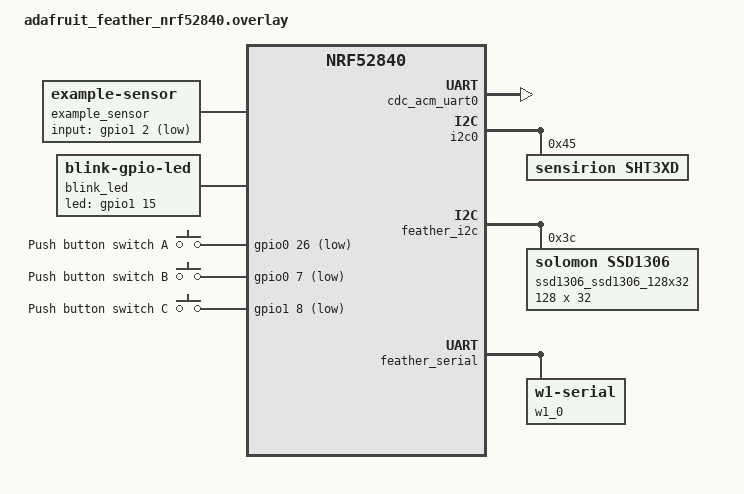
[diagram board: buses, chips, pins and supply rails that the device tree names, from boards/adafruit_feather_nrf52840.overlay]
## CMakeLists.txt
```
#-------------------------------------------------------------------------------
# Zephyr Example Application
#
# Copyright (c) 2021 Nordic Semiconductor ASA
# SPDX-License-Identifier: Apache-2.0

cmake_minimum_required(VERSION 3.13.1)
find_package(Zephyr REQUIRED HINTS $ENV{ZEPHYR_BASE})

list(APPEND ZEPHYR_DTS_PATH ${CMAKE_CURRENT_LIST_DIR/dts})

project(app)
rust_cargo_application()

# Add c-project sources
project(app LANGUAGES C)
#FILE(GLOB app_sources c_src/*.c)
target_sources(app PRIVATE c_src/main.c)
target_sources(app PRIVATE c_src/board_init.c)
target_sources(app PRIVATE c_src/rht_sensor_init.c)
target_sources(app PRIVATE c_src/zbus_bridge.c)
target_sources_ifdef(CONFIG_BT app PRIVATE c_src/smp_ble.c)

target_sources_ifdef(CONFIG_WIFI app PRIVATE c_src/wifi_bridge.c)
target_sources_ifdef(CONFIG_WIFI app PRIVATE c_src/mqtt_bridge.c)

# Checks if 'MQTT_USER' exists in 'wifi_settings.h'
include(CheckSymbolExists)
set(CMAKE_REQUIRED_INCLUDES "${CMAKE_CURRENT_SOURCE_DIR}/../include/app")

check_symbol_exists(MQTT_USER "wifi_settings.h" HAS_MQTT_CREDS)

if(NOT HAS_MQTT_CREDS)
    target_compile_definitions(app PRIVATE MQTT_USER=\"USER\")
    target_compile_definitions(app PRIVATE MQTT_PASSWORD=\"DUMMY\")
endif()
# End MQTT_USER check

set(CMAKE_EXPORT_COMPILE_COMMANDS ON)
```

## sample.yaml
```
# This file is provided so that the application can be compiled using Twister,
# the Zephyr testing tool. In this file, multiple combinations can be specified,
# so that you can easily test all of them locally or in CI.
sample:
  description: RH Sensor application
  name: RH_Sensor_in_Rust 
common:
  build_only: true
  integration_platforms:
    - custom_plank
    - esp32c3_devkitm
    - adafruit_feather_nrf52840
tests:
  app.default: {}
  app.debug:
    extra_overlay_confs:
      - debug.conf
```

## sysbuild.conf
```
# Sysbuild configuration file.

# Enable MCUboot using overwrite only mode for this sample.
SB_CONFIG_BOOTLOADER_MCUBOOT=y

# ECDSA_P256 signature and key
SB_CONFIG_BOOT_SIGNATURE_TYPE_ECDSA_P256=y
SB_CONFIG_BOOT_SIGNATURE_KEY_FILE="${WEST_TOPDIR}/rh_sensor/rh_sensor_key.pem"
```

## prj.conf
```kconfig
# Copyright (c) 2021 Nordic Semiconductor ASA
# SPDX-License-Identifier: Apache-2.0
#
# This file contains selected Kconfig options for the application.

CONFIG_RUST=y
CONFIG_RUST_ALLOC=y

CONFIG_LOG=y
#CONFIG_LOG_MODE_MINIMAL=y
CONFIG_LOG_MODE_DEFERRED=y
CONFIG_SHELL=y
CONFIG_SHELL_BACKEND_SERIAL=y
CONFIG_SHELL_LOG_BACKEND=y
CONFIG_SHELL_PROMPT_UART="rh_sensor:~$"
CONFIG_UART_CONSOLE=y
CONFIG_UART_LINE_CTRL=y

#CONFIG_BLINK=y
#CONFIG_BLINK_RUST=y - NOTE: Create the blinky module in rust

# MCU Boot settings (MCUMGR in application, using BLE)
CONFIG_BOOTLOADER_MCUBOOT=y
CONFIG_FLASH=y
CONFIG_FLASH_MAP=y
CONFIG_STREAM_FLASH=y
CONFIG_IMG_MANAGER=y
CONFIG_MCUMGR=y
CONFIG_MCUMGR_GRP_IMG=y
CONFIG_MCUMGR_GRP_IMG_SLOT_INFO=y
CONFIG_MCUMGR_GRP_OS=y
CONFIG_MCUMGR_GRP_OS_INFO=y
CONFIG_MCUMGR_GRP_OS_INFO_BUILD_DATE_TIME=y
CONFIG_MCUMGR_GRP_OS_BOOTLOADER_INFO=y

# Enable the Bluetooth mcumgr transport (unauthenticated).
CONFIG_MCUMGR_TRANSPORT_BT=y
CONFIG_MCUMGR_TRANSPORT_BT_CONN_PARAM_CONTROL=y
CONFIG_MCUMGR_TRANSPORT_NETBUF_SIZE=512

CONFIG_BASE64=y
CONFIG_ZCBOR=y
CONFIG_CRC=y
CONFIG_SERIAL=y
CONFIG_CONSOLE=y

# SHT3x_DIS Sensor Driver
CONFIG_I2C=y
CONFIG_SENSOR=y
CONFIG_SENSOR_LOG_LEVEL_DBG=n
CONFIG_SHT3XD=y
CONFIG_CBPRINTF_FP_SUPPORT=y
CONFIG_SHT3XD_SINGLE_SHOT_MODE=y

# DS18B20 Sensor Driver
CONFIG_W1=y
CONFIG_DS18B20=y

# Example (mock) Sensor Driver
CONFIG_EXAMPLE_SENSOR=y

# Zbus - internal pub-sub bus
CONFIG_ZBUS=y
CONFIG_ZBUS_MSG_SUBSCRIBER=y
```

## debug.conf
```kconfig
# Copyright (c) 2021 Nordic Semiconductor ASA
# SPDX-License-Identifier: Apache-2.0
#
# This is a Kconfig fragment which can be used to enable debug-related options
# in the application. See the README for more details.

# compiler
CONFIG_DEBUG_OPTIMIZATIONS=y

# logging
CONFIG_LOG=y
CONFIG_APP_LOG_LEVEL_DBG=y

# Debug flags:
CONFIG_DEBUG=y
CONFIG_DEBUG_COREDUMP=y
CONFIG_DEBUG_THREAD_INFO=y

#CONFIG_TRACING=y
#CONFIG_PERCEPIO_TRACERECORDER=y
#CONFIG_PERCEPIO_TRC_START_MODE_START=y 
#CONFIG_PERCEPIO_TRC_CFG_STREAM_PORT_RINGBUFFER=y
#CONFIG_PERCEPIO_TRC_CFG_STREAM_PORT_RINGBUFFER_SIZE=16384
```

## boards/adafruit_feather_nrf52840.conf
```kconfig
# Increase stack memory to avoid crashes
CONFIG_MAIN_STACK_SIZE=8192

# Enable USB subsystem - for logging
CONFIG_USB_DEVICE_STACK_NEXT=y
CONFIG_CDC_ACM_SERIAL_INITIALIZE_AT_BOOT=y
CONFIG_USBD_CDC_ACM_LOG_LEVEL_OFF=y

# Enable the Nordic QSPI driver specifically
CONFIG_NORDIC_QSPI_NOR=y
CONFIG_FLASH_PAGE_LAYOUT=y
CONFIG_NORDIC_QSPI_NOR_FLASH_LAYOUT_PAGE_SIZE=4096

# --- Bluetooth LE Core Settings ---
CONFIG_BT=y
CONFIG_BT_PERIPHERAL=y
CONFIG_BT_DEVICE_NAME="RH_Sensor"

# Allow for large Bluetooth data packets.
CONFIG_BT_L2CAP_TX_MTU=498
CONFIG_BT_BUF_ACL_RX_SIZE=502
CONFIG_BT_BUF_ACL_TX_SIZE=502
CONFIG_BT_CTLR_DATA_LENGTH_MAX=251

# Enable Display Drivers
CONFIG_DISPLAY=y
CONFIG_SSD1306=y
CONFIG_HEAP_MEM_POOL_SIZE=2048

# Enable the Character Frame Buffer
CONFIG_CHARACTER_FRAMEBUFFER=y

# Graphics Support
CONFIG_LVGL=y
CONFIG_LV_Z_MEM_POOL_SIZE=16384
CONFIG_LV_Z_VDB_SIZE=64
CONFIG_LV_Z_BITS_PER_PIXEL=1
CONFIG_LV_COLOR_DEPTH_1=y
#CONFIG_LV_Z_COLOR_MONO_HW_INVERSION=y
#CONFIG_LV_Z_SHELL=y
#CONFIG_LV_USE_LOG=y
#CONFIG_LV_LOG_LEVEL_INFO=y
CONFIG_LV_USE_LABEL=y
# CONFIG_LV_USE_ARC=y
# CONFIG_LV_USE_MONKEY=y
# CONFIG_LV_FONT_MONTSERRAT_14=y
```

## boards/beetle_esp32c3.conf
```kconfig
# ESP32C3 Specific Configuration
# -------------------------------

# Wifi settings
#--------------------------------
# Increase stack memory to avoid crashes
CONFIG_MAIN_STACK_SIZE=8192

# --- Bluetooth LE Core Settings ---
CONFIG_BT=y
CONFIG_BT_PERIPHERAL=y
CONFIG_BT_DEVICE_NAME="RH_Sensor"

# Allow for large Bluetooth data packets.
CONFIG_BT_L2CAP_TX_MTU=498
CONFIG_BT_BUF_ACL_RX_SIZE=502
CONFIG_BT_BUF_ACL_TX_SIZE=502
CONFIG_BT_CTLR_DATA_LENGTH_MAX=251

# Enable WiFi
CONFIG_WIFI=y
CONFIG_WIFI_LOG_LEVEL_DBG=n

# Networking config
CONFIG_NETWORKING=y
CONFIG_NET_IPV4=y
CONFIG_NET_TCP=y
CONFIG_POSIX_API=y

# MQTT settings
CONFIG_MQTT_LIB=y
CONFIG_MQTT_LOG_LEVEL_DBG=n

# Get IPv4 address from DHCP
CONFIG_NET_DHCPV4=y

# How long to wait for e.g. DHCP to provide an IP address (seconds)
CONFIG_NET_CONFIG_SETTINGS=n    # Disable auto-configuration...
CONFIG_NET_CONFIG_AUTO_INIT=n   # Disable auto-configuration...

# Network debug config
CONFIG_NET_LOG=n

# Enable Ethernet (required for WiFi)
CONFIG_NET_L2_WIFI_MGMT=y
CONFIG_NET_MGMT=y
CONFIG_NET_MGMT_EVENT=y
CONFIG_NET_MGMT_EVENT_INFO=y
CONFIG_NET_MGMT_EVENT_LOG_LEVEL_DBG=n
#----------------------------------

# Required to get an IP address from DHCP
CONFIG_WIFI_STA_AUTO_DHCPV4=y

# Use system heap (instead of runtime) for WiFi
CONFIG_ESP_WIFI_HEAP_SYSTEM=y
CONFIG_HEAP_MEM_POOL_SIZE=84032
```

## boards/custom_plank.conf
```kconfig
CONFIG_USB_DEVICE_STACK_NEXT=y
```

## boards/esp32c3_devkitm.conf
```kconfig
# ESP32C3 Specific Configuration
# -------------------------------

# Wifi settings
#--------------------------------
# Increase stack memory to avoid crashes
CONFIG_MAIN_STACK_SIZE=8192

# Enable WiFi
CONFIG_WIFI=y
CONFIG_WIFI_LOG_LEVEL_DBG=n

# Networking config
CONFIG_NETWORKING=y
CONFIG_NET_IPV4=y
CONFIG_NET_TCP=y
CONFIG_POSIX_API=y

# MQTT settings
CONFIG_MQTT_LIB=y
CONFIG_MQTT_LOG_LEVEL_DBG=n

# Get IPv4 address from DHCP
CONFIG_NET_DHCPV4=y

# How long to wait for e.g. DHCP to provide an IP address (seconds)
CONFIG_NET_CONFIG_SETTINGS=n    # Disable auto-configuration...
CONFIG_NET_CONFIG_AUTO_INIT=n   # Disable auto-configuration...

# Network debug config
CONFIG_NET_LOG=n

# Enable Ethernet (required for WiFi)
CONFIG_NET_L2_WIFI_MGMT=y
CONFIG_NET_MGMT=y
CONFIG_NET_MGMT_EVENT=y
CONFIG_NET_MGMT_EVENT_INFO=y
CONFIG_NET_MGMT_EVENT_LOG_LEVEL_DBG=n
#----------------------------------

# Required to get an IP address from DHCP
CONFIG_ESP32_WIFI_STA_AUTO_DHCPV4=y

# Use system heap (instead of runtime) for WiFi
CONFIG_ESP_WIFI_HEAP_SYSTEM=y
CONFIG_HEAP_MEM_POOL_SIZE=58200
```

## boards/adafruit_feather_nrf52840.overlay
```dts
/*
 * Copyright (c) 2021 Nordic Semiconductor ASA
 *
 * SPDX-License-Identifier: Apache-2.0
 */
#include <adafruit_feather_nrf52840_map.dtsi>

/ {
	/* This uses the same gpio as th user button declared in board file! */
	example_sensor: example-sensor {
		compatible = "zephyr,example-sensor";
		input-gpios = <&gpio1 2 (GPIO_PULL_UP | GPIO_ACTIVE_LOW)>;
	};

	blink_led: blink-led {
		compatible = "blink-gpio-led";
		led-gpios = <&gpio1 15 GPIO_ACTIVE_HIGH>;
		blink-period-ms = <1000>;
	};

	buttons {
		compatible = "gpio-keys";

		buttonA: button_A {
			//gpios = <&feather_header 16 (GPIO_PULL_UP | GPIO_ACTIVE_LOW)>; feather_header can't be mapped into dt-rust.yml... ToDo...?
			gpios = <&gpio0 26 (GPIO_PULL_UP | GPIO_ACTIVE_LOW)>;
			label = "Push button switch A";
		};

		buttonB: button_B {
			//gpios = <&feather_header 15 (GPIO_PULL_UP | GPIO_ACTIVE_LOW)>;
			gpios = <&gpio0 7 (GPIO_PULL_UP | GPIO_ACTIVE_LOW)>;
			label = "Push button switch B";
		};

		buttonC: button_C {
			//gpios = <&feather_header 14 (GPIO_PULL_UP | GPIO_ACTIVE_LOW)>;
			gpios = <&gpio1 8 (GPIO_PULL_UP | GPIO_ACTIVE_LOW)>;
			label = "Push button switch C";
		};
	};

	chosen {
		zephyr,console = &cdc_acm_uart0;
		zephyr,shell-uart = &cdc_acm_uart0;
		zephyr,uart-mcumgr = &cdc_acm_uart0;
		zephyr,flash = &flash0;
		zephyr,code-partition = &slot0_partition;
        zephyr,display = &ssd1306_ssd1306_128x32;
	};
	
	aliases {
		userbutton = &buttonB;
	};
};

&zephyr_udc0 {
	cdc_acm_uart0: cdc_acm_uart0 {
		compatible = "zephyr,cdc-acm-uart";
		/*tx-fifo-size = <4096>;*/
	};
};

&i2c0 { /* SDA P0.12, SCL P0.11, Alert P1.08 */
	status = "okay";
	sht3xd:sht3xd@45 {
		compatible = "sensirion,sht3xd";
		reg = <0x45>; /* ADDR pin pulled high, else 0x44 */
		//alert-gpios = <&gpio1 8 GPIO_ACTIVE_HIGH>; Disable IRQ pin - only used with polling
	};
};

&feather_i2c {
	status = "okay";

	ssd1306_ssd1306_128x32: ssd1306@3c {
		compatible = "solomon,ssd1306";
		reg = <0x3c>;
		width = <128>;
		height = <32>;
		segment-offset = <0>;
		page-offset = <0>;
		display-offset = <0>;
		multiplex-ratio = <31>;
		segment-remap;
		com-invdir;
		com-sequential;
		prechargep = <0x22>;
	};
};

&feather_serial {
	status = "okay";

	w1_0: w1-zephyr-serial-0 {
		compatible = "zephyr,w1-serial";
		status = "okay";

		ds18b20 {
			compatible = "maxim,ds18b20";
			family-code = <0x28>;
			resolution = <12>;
			status = "okay";
		};
	};
};
```

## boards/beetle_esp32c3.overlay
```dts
/*
 * Copyright (c) 2026 Dooleweerdt
 * SPDX-License-Identifier: Apache-2.0
 */

/* This devicetree overlay file will be automatically picked by the Zephyr
 * build system when building the sample for the esp32c3_devkitm board. It shows
 * how the example-application can be built on sample boards already provided
 * by Zephyr.
 */

/ {
	aliases {
		led0 = &blue_led;
		//userbutton = &user_button1;
	};

	example_sensor: example-sensor {
		compatible = "zephyr,example-sensor";
		input-gpios = <&gpio0 7 (GPIO_PULL_UP | GPIO_ACTIVE_LOW)>;
	};

    /* Define the 1-Wire bus at the root level */
    w1: w1 {
        compatible = "zephyr,w1-gpio";
        /* Pick an available GPIO, e.g., GPIO 4 */
        gpios = <&gpio0 4 (GPIO_ACTIVE_HIGH | GPIO_OPEN_DRAIN)>;
        status = "okay";

        ds18b20: ds18b20 {
            compatible = "maxim,ds18b20";
            family-code = <0x28>;
            resolution = <12>;
            status = "okay";
        };
    };

	chosen {
		zephyr,console = &usb_serial;
		zephyr,shell-uart = &usb_serial;
 		zephyr,uart-mcumgr = &usb_serial; 
 	};
};

&i2c0 { /* SDA P8, SCL P9, Alert P1 */
	status = "okay";
	sht3xd:sht3xd@45 {
		compatible = "sensirion,sht3xd";
		reg = <0x45>; /* ADDR pin pulled high, else 0x44 */
		//alert-gpios = <&gpio0 1 GPIO_ACTIVE_HIGH>; - Only used in polling, so remove IRQ pin.
	};
};

// Disable SPI2 - as it uses P4 as the SCLK output, so the w1 interface doesn't work.
&spi2 {
    status = "disabled";
};

&usb_serial {
	status = "okay";
};

&wifi {
    status = "okay";
};
```

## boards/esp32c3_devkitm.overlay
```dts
/*
 * Copyright (c) 2021 Nordic Semiconductor ASA
 * SPDX-License-Identifier: Apache-2.0
 */

/* This devicetree overlay file will be automatically picked by the Zephyr
 * build system when building the sample for the esp32c3_devkitm board. It shows
 * how the example-application can be built on sample boards already provided
 * by Zephyr.
 */

/ {
	aliases {
		led0 = &blue_led;
		userbutton = &user_button1;
	};

	example_sensor: example-sensor {
		compatible = "zephyr,example-sensor";
		input-gpios = <&gpio0 7 (GPIO_PULL_UP | GPIO_ACTIVE_LOW)>;
	};

	leds {
		compatible = "gpio-leds";

		blue_led: led_0 {
			gpios = <&gpio0 10 GPIO_ACTIVE_HIGH>;
			label = "Blue LED";
		};
	};

    /* Define the 1-Wire bus at the root level */
    w1: w1 {
        compatible = "zephyr,w1-gpio";
        /* Pick an available GPIO, e.g., GPIO 4 */
        gpios = <&gpio0 4 (GPIO_ACTIVE_HIGH | GPIO_OPEN_DRAIN)>;
        status = "okay";

        ds18b20: ds18b20 {
            compatible = "maxim,ds18b20";
            family-code = <0x28>;
            resolution = <12>;
            status = "okay";
        };
    };

	chosen {
		zephyr,console = &usb_serial;
		zephyr,shell-uart = &usb_serial;
 		zephyr,uart-mcumgr = &usb_serial; 
 	};
};

&i2c0 { /* SDA P8, SCL P9, Alert P1 */
	status = "okay";
	sht3xd:sht3xd@45 {
		compatible = "sensirion,sht3xd";
		reg = <0x45>; /* ADDR pin pulled high, else 0x44 */
		//alert-gpios = <&gpio0 1 GPIO_ACTIVE_HIGH>; - Only used in polling, so remove IRQ pin.
	};
};

&usb_serial {
	status = "okay";
};

&wifi {
    status = "okay";
};
```

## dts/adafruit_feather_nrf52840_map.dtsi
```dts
/* Expand internal MCUboot and Slot0 partitions */
&flash0 {
    partitions {
        ranges;
        #address-cells = <1>;
        #size-cells = <1>;

		/* Delete the default board partitions that start at 0xc000 and 0x82000 */
        /delete-node/ partition@c000;
        /delete-node/ partition@82000;

        /* 1. MCUboot partition increased to 64KB (0x12000) */
        boot_partition: partition@0 {
            compatible = "zephyr,mapped-partition";
            label = "mcuboot";
            reg = <0x00000000 0x00012000>;
        };

        /* 2. Slot 0 starts at 0x12000 and uses remaining internal flash */
        slot0_partition: partition@12000 {
            compatible = "zephyr,mapped-partition";
            label = "image-0";
            reg = <0x00012000 0x000E6000>;
        };

        /* 3. Storage partition from 0xF8000 -> 0xFFFFF */
    };
};

&gd25q16 {
    status = "okay";
    partitions {
        compatible = "fixed-partitions";
        #address-cells = <1>;
        #size-cells = <1>;

        /* MCUboot secondary slot - One page larger than slot0 (swap page) */
        slot1_partition: partition@0 {
            label = "image-1";
            reg = <0x00000000 0x000E7000>;
        };

        /* Rest of the 16Mbit (2MB) Flash */
        ext_storage_partition: partition@E7000 {
            label = "ext_storage";
            reg = <0x000E7000 0x00117000>;
        };
    };
};
```

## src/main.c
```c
/*
 * Copyright (c) 2021 Nordic Semiconductor ASA
 * SPDX-License-Identifier: Apache-2.0
 */

#include <zephyr/kernel.h>
#include <zephyr/drivers/sensor.h>
#include <zephyr/logging/log.h>

#include <app/drivers/blink.h>

#include <app_version.h>

// Custom libraries
#include <app/drivers/wifi.h>
#include <app/wifi_settings.h>

LOG_MODULE_REGISTER(main, CONFIG_APP_LOG_LEVEL);

#define BLINK_PERIOD_MS_STEP 100U
#define BLINK_PERIOD_MS_MAX  1000U


int main(void)
{
	int ret;
	const struct device *sensor;
    #if CONFIG_BLINK
    const struct device *blink;
    #endif
	struct sensor_value val;

	printk("Zephyr - RH Sensor in Rust %s\n", STRINGIFY(APP_BUILD_VERSION));

	sensor = DEVICE_DT_GET(DT_NODELABEL(example_sensor));
	if (!device_is_ready(sensor)) {
		LOG_ERR("Sensor not ready");
		return 0;
	}

    #if CONFIG_BLINK
	blink = DEVICE_DT_GET(DT_NODELABEL(blink_led));
	if (!device_is_ready(blink)) {
		LOG_ERR("Blink LED not ready");
		return 0;
	}

	ret = blink_off(blink);
	if (ret < 0) {
		LOG_ERR("Could not turn off LED (%d)", ret);
		return 0;
	}
    #endif

	printk("Use the sensor to change LED blinking period\n");

    #if CONFIG_WIFI
    #if WIFI_CREDENTIALS
    // Wifi initialization - Test code
    wifi_init();

    do {
        // Connect to the WiFi network (blocking)
        ret = wifi_connect(WIFI_SSID, WIFI_PSK);
        if (ret < 0) {
            printk("Error (%d): WiFi connection failed. Retrying in 5s...\r\n", ret);
            k_sleep(K_MSEC(5000)); // Wait before retrying
        }
    } while (ret < 0);

    // Wait to receive an IP address (blocking)
    wifi_wait_for_ip_addr();

    // Wifi initialization - Test code End
    #else
    #error "WIFI_SSID is not defined. Please define WIFI_SSID and WIFI"
    #endif // WIFI_SSID
    #endif

	while (1) {
		ret = sensor_sample_fetch(sensor);
		if (ret < 0) {
			LOG_ERR("Could not fetch sample (%d)", ret);
			return 0;
		}

		ret = sensor_channel_get(sensor, SENSOR_CHAN_AMBIENT_TEMP, &val);
		if (ret < 0) {
			LOG_ERR("Could not get sample (%d)", ret);
			return 0;
		}

        printk("Temperature: %d.%06d C\n", val.val1, val.val2);

		k_sleep(K_MSEC(1000));
	}

	return 0;
}

/* Wifi code from Shawn Hymel (DigiKey): https://www.digikey.dk/da/maker/tutorials/2025/introduction-to-zephyr-part-11-wifi-and-iot

#include <stdio.h>
#include <string.h>
#include <zephyr/kernel.h>
#include <zephyr/net/socket.h>

// Custom libraries
#include "wifi.h"

// WiFi settings
#define WIFI_SSID "MySSID"
#define WIFI_PSK "MyPassword"

// HTTP GET settings
#define HTTP_HOST "example.com"
#define HTTP_URL "/"

// Globals
static char response[512];

// Print the results of a DNS lookup
void print_addrinfo(struct zsock_addrinfo **results)
{
    char ipv4[INET_ADDRSTRLEN];
    char ipv6[INET6_ADDRSTRLEN];
    struct sockaddr_in *sa;
    struct sockaddr_in6 *sa6;
    struct zsock_addrinfo *rp;

    // Iterate through the results
    for (rp = *results; rp != NULL; rp = rp->ai_next) {

        // Print IPv4 address
        if (rp->ai_addr->sa_family == AF_INET) {
            sa = (struct sockaddr_in *)rp->ai_addr;
            zsock_inet_ntop(AF_INET, &sa->sin_addr, ipv4, INET_ADDRSTRLEN);
            printk("IPv4: %s\r\n", ipv4);
        }

        // Print IPv6 address
        if (rp->ai_addr->sa_family == AF_INET6) {
            sa6 = (struct sockaddr_in6 *)rp->ai_addr;
            zsock_inet_ntop(AF_INET6, &sa6->sin6_addr, ipv6, INET6_ADDRSTRLEN);
            printk("IPv6: %s\r\n", ipv6);
        }
    }
}

int main(void)
{
    struct zsock_addrinfo hints;
    struct zsock_addrinfo *res;
    char http_request[512];
    int sock;
    int len;
    uint32_t rx_total;
    int ret;

    printk("HTTP GET Demo\r\n");

    // Initialize WiFi
    wifi_init();

    // Connect to the WiFi network (blocking)
    ret = wifi_connect(WIFI_SSID, WIFI_PSK);
    if (ret < 0) {
        printk("Error (%d): WiFi connection failed\r\n", ret);
        return 0;
    }

    // Wait to receive an IP address (blocking)
    wifi_wait_for_ip_addr();

    // Construct HTTP GET request
    snprintf(http_request,
             sizeof(http_request),
             "GET %s HTTP/1.1\r\nHost: %s\r\n\r\n",
             HTTP_URL,
             HTTP_HOST);

    // Clear and set address info
    memset(&hints, 0, sizeof(hints));
    hints.ai_family = AF_INET;              // IPv4
    hints.ai_socktype = SOCK_STREAM;        // TCP socket

    // Perform DNS lookup
    printk("Performing DNS lookup...\r\n");
    ret = zsock_getaddrinfo(HTTP_HOST, "80", &hints, &res);
    if (ret != 0) {
        printk("Error (%d): Could not perform DNS lookup\r\n", ret);
        return 0;
    }

    // Print the results of the DNS lookup
    print_addrinfo(&res);

    // Create a new socket
    sock = zsock_socket(res->ai_family, res->ai_socktype, res->ai_protocol);
    if (sock < 0) {
        printk("Error (%d): Could not create socket\r\n", errno);
        return 0;
    }

    // Connect the socket
    ret = zsock_connect(sock, res->ai_addr, res->ai_addrlen);
    if (ret < 0) {
        printk("Error (%d): Could not connect the socket\r\n", errno);
        return 0;
    }

    // Set the request
    printk("Sending HTTP request...\r\n");
    ret = zsock_send(sock, http_request, strlen(http_request), 0);
    if (ret < 0) {
        printk("Error (%d): Could not send request\r\n", errno);
        return 0;
    }

    // Print the response
    printk("Response:\r\n\r\n");
    rx_total = 0;
    while (1) {

        // Receive data from the socket
        len = zsock_recv(sock, response, sizeof(response) - 1, 0);

        // Check for errors
        if (len < 0) {
            printk("Receive error (%d): %s\r\n", errno, strerror(errno));
            return 0;
        }

        // Check for end of data
        if (len == 0) {
            break;
        }

        // Null-terminate the response string and print it
        response[len] = '\0';
        printk("%s", response);
        rx_total += len;
    }

    // Print the total number of bytes received
    printk("\r\nTotal bytes received: %u\r\n", rx_total);

    // Close the socket
    zsock_close(sock);

    return 0;
}
*/
```

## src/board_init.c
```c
/*
 * Copyright (c) 2021 Nordic Semiconductor ASA
 * SPDX-License-Identifier: Apache-2.0
 */

#include <zephyr/init.h>
#include <zephyr/logging/log.h>
#include <zephyr/drivers/display.h>
#include <zephyr/display/cfb.h>

#include <app_version.h>

// Custom libraries
#include <app/drivers/wifi.h>
#include <app/wifi_settings.h>

LOG_MODULE_REGISTER(board_init, CONFIG_APP_LOG_LEVEL);

#ifndef WIFI_CREDENTIALS
// Pseudo credentials for testing - real credentials is in wifi_settings.h
#define WIFI_CREDENTIALS 1
#define WIFI_SSID "WirelessNetwork"
#define WIFI_PSK "Password"
#endif

#if CONFIG_DISPLAY
#define DISPLAY_DRIVER      DT_CHOSEN(zephyr_display)
const struct device *display_dev = DEVICE_DT_GET(DISPLAY_DRIVER);

#if CONFIG_LVGL
#include <lvgl.h>
//LV_IMG_DECLARE(gemini-icon);
//LV_IMG_DECLARE(zephyr-icon);
#endif // CONFIG_LVGL

#endif // CONFIG_DISPLAY

int board_init(void)
{
    printk("Zephyr - RH Sensor in Rust %s\n", STRINGIFY(APP_BUILD_VERSION));

    #if CONFIG_DISPLAY
    if (!device_is_ready(display_dev)) {
        // Handle error
        return ENODEV;
    }

    // Now you can use display_blanking_off(display_dev) 
    // and start writing pixels or text.
    int ret = display_blanking_off(display_dev);
	if (ret < 0 && ret != -ENOSYS) {
		LOG_ERR("Failed to turn blanking off (error %d)", ret);
    }

    #if CONFIG_LVGL
    lv_obj_t * label1 = lv_label_create(lv_scr_act());
    lv_label_set_text(label1, "Zephyr LVGL!");
    lv_obj_align(label1, LV_ALIGN_TOP_LEFT, 0, 0);
    lv_timer_handler();
    #else
    // Initialize the CFB (Character Frame Buffer)
    if (cfb_framebuffer_init(display_dev)) {
        return EIO; // Error initializing framebuffer
    }

    // Clear the screen and set font
    cfb_framebuffer_clear(display_dev, true);

    // Print text at coordinates (x, y)
    cfb_print(display_dev, "Zephyr RTOS!", 0, 0);
    cfb_print(display_dev, "Feather nRF52840", 0, 16);

    // Finalize and push the buffer to the hardware
    cfb_framebuffer_finalize(display_dev);
    #endif // CONFIG_LVGL
    #endif // CONFIG_DISPLAY

    #if CONFIG_WIFI
    #if WIFI_CREDENTIALS
	int ret;

    // Wifi initialization - Test code
    wifi_init();

    do {
        // Connect to the WiFi network (blocking)
        ret = wifi_connect(WIFI_SSID, WIFI_PSK);
        if (ret < 0) {
            printk("Error (%d): WiFi connection failed. Retrying in 5s...\r\n", ret);
            k_sleep(K_MSEC(5000)); // Wait before retrying
        }
    } while (ret < 0);

    // Wait to receive an IP address (blocking)
    wifi_wait_for_ip_addr();

    // Wifi initialization - Test code End
    #else
    #error "WIFI_SSID is not defined. Please define WIFI_SSID and WIFI"
    #endif // WIFI_SSID
    #endif

    return 0;
}

SYS_INIT_NAMED(board_init, &board_init, APPLICATION, 256);
```

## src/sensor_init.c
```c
#include <zephyr/device.h>
#include <zephyr/drivers/sensor.h>
#include <zephyr/logging/log.h>

LOG_MODULE_REGISTER(sensor_init, CONFIG_APP_LOG_LEVEL);

const struct device * is_sensor_ready(void)
{
    static const struct device *sensor;

    sensor = DEVICE_DT_GET(DT_NODELABEL(sht3xd));
	if (!device_is_ready(sensor)) {
		LOG_ERR("SHT3x sensor is not ready");
        sensor = NULL;
	}

    if (sensor == NULL) {
        sensor = DEVICE_DT_GET(DT_NODELABEL(example_sensor));
        if (!device_is_ready(sensor)) {
            LOG_ERR("Example sensor is not ready");
            sensor = NULL;
        }
    }

    LOG_INF("Sensor device: %s", sensor->name);

    if (sensor == NULL) {
        return NULL;
    }
	return sensor;
}
```

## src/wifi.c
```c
#include <string.h>
#include <zephyr/kernel.h>
#include <zephyr/net/wifi_mgmt.h>

// Wifi code from Shawn Hymel (DigiKey): https://www.digikey.dk/da/maker/tutorials/2025/introduction-to-zephyr-part-11-wifi-and-iot 

// Event callbacks
static struct net_mgmt_event_callback wifi_cb;
static struct net_mgmt_event_callback ipv4_cb;

// Semaphores
static K_SEM_DEFINE(sem_wifi, 0, 1);
static K_SEM_DEFINE(sem_ipv4, 0, 1);

// Called when the WiFi is connected
static void on_wifi_connection_event(struct net_mgmt_event_callback *cb,
                                     uint64_t mgmt_event,
                                     struct net_if *iface)
{
    const struct wifi_status *status = (const struct wifi_status *)cb->info;

    if (mgmt_event == NET_EVENT_WIFI_CONNECT_RESULT) {
        if (status->status) {
            printk("Error (%d): Connection request failed\r\n", status->status);
        } else {
            printk("Connected!\r\n");
            k_sem_give(&sem_wifi);
        }
    } else if (mgmt_event == NET_EVENT_WIFI_DISCONNECT_RESULT) {
        if (status->status) {
            printk("Error (%d): Disconnection request failed\r\n", status->status);
        } else {
            printk("Disconnected\r\n");
            k_sem_take(&sem_wifi, K_NO_WAIT);
        }
    }
}

// Event handler for WiFi management events
static void on_ipv4_obtained(struct net_mgmt_event_callback *cb,
                             uint64_t mgmt_event,
                             struct net_if *iface)
{
    // Signal that the IP address has been obtained
    if (mgmt_event == NET_EVENT_IPV4_ADDR_ADD) {
        k_sem_give(&sem_ipv4);
    }
}

// Initialize the WiFi event callbacks
void wifi_init(void)
{
    // Initialize the event callbacks
    net_mgmt_init_event_callback(&wifi_cb,
                                 on_wifi_connection_event,
                                 NET_EVENT_WIFI_CONNECT_RESULT | NET_EVENT_WIFI_DISCONNECT_RESULT);
    net_mgmt_init_event_callback(&ipv4_cb,
                                 on_ipv4_obtained,
                                 NET_EVENT_IPV4_ADDR_ADD);
    
    // Add the event callbacks
    net_mgmt_add_event_callback(&wifi_cb);
    net_mgmt_add_event_callback(&ipv4_cb);
}

// Connect to the WiFi network (blocking)
int wifi_connect(char *ssid, char *psk)
{
    int ret;
    struct net_if *iface;
    struct wifi_connect_req_params params;

    // Get the default networking interface
    iface = net_if_get_default();

    // Fill in the connection request parameters
    params.ssid = (const uint8_t *)ssid;
    params.ssid_length = strlen(ssid);
    params.psk = (const uint8_t *)psk;
    params.psk_length = strlen(psk);
    params.security = WIFI_SECURITY_TYPE_PSK;
    params.band = WIFI_FREQ_BAND_UNKNOWN;
    params.channel = WIFI_CHANNEL_ANY;
    params.mfp = WIFI_MFP_OPTIONAL;

    // Connect to the WiFi network
    ret = net_mgmt(NET_REQUEST_WIFI_CONNECT,
                   iface,
                   &params,
                   sizeof(params));

    // Wait for the connection to complete
    k_sem_take(&sem_wifi, K_FOREVER);

    return ret;
}

// Wait for IP address (blocking)
void wifi_wait_for_ip_addr(void)
{
    struct wifi_iface_status status;
    struct net_if *iface;
    char ip_addr[NET_IPV4_ADDR_LEN];
    char gw_addr[NET_IPV4_ADDR_LEN];

    // Get interface
    iface = net_if_get_default();

    // Wait for the IPv4 address to be obtained
    k_sem_take(&sem_ipv4, K_FOREVER);

    // Get the WiFi status
    if (net_mgmt(NET_REQUEST_WIFI_IFACE_STATUS,
                 iface,
                 &status,
                 sizeof(struct wifi_iface_status))) {
        printk("Error: WiFi status request failed\r\n");
    }

    // Get the IP address
    memset(ip_addr, 0, sizeof(ip_addr));
    if (net_addr_ntop(AF_INET,
                      &iface->config.ip.ipv4->unicast[0].ipv4.address.in_addr,
                      ip_addr,
                      sizeof(ip_addr)) == NULL) {
        printk("Error: Could not convert IP address to string\r\n");
    }

    // Get the gateway address
    memset(gw_addr, 0, sizeof(gw_addr));
    if (net_addr_ntop(AF_INET,
                      &iface->config.ip.ipv4->gw,
                      gw_addr,
                      sizeof(gw_addr)) == NULL) {
        printk("Error: Could not convert gateway address to string\r\n");
    }

    // Print the WiFi status
    printk("WiFi status:\r\n");
    if (status.state >= WIFI_STATE_ASSOCIATED) {
        printk("  SSID: %-32s\r\n", status.ssid);
        printk("  Band: %s\r\n", wifi_band_txt(status.band));
        printk("  Channel: %d\r\n", status.channel);
        printk("  Security: %s\r\n", wifi_security_txt(status.security));
        printk("  IP address: %s\r\n", ip_addr);
        printk("  Gateway: %s\r\n", gw_addr);
    }
}

// Disconnect from the WiFi network
int wifi_disconnect(void)
{
    int ret;
    struct net_if *iface = net_if_get_default();

    ret = net_mgmt(NET_REQUEST_WIFI_DISCONNECT, iface, NULL, 0);

    return ret;
}
```
